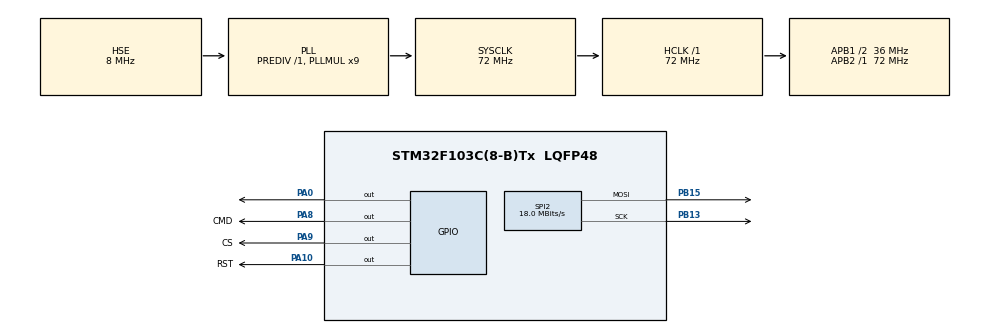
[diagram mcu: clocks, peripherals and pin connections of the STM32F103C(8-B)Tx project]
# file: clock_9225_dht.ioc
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Mcu.Family=STM32F1
Mcu.Name=STM32F103C(8-B)Tx
Mcu.Package=LQFP48
NVIC.PriorityGroup=NVIC_PRIORITYGROUP_4
PA0-WKUP.Signal=GPIO_Output
PA10.GPIO_Label=RST
PA10.Signal=GPIO_Output
PA13.Mode=Serial_Wire
PA13.Signal=SYS_JTMS-SWDIO
PA14.Mode=Serial_Wire
PA14.Signal=SYS_JTCK-SWCLK
PA8.GPIO_Label=CMD
PA8.Signal=GPIO_Output
PA9.GPIO_Label=CS
PA9.Signal=GPIO_Output
PB13.Mode=TX_Only_Simplex_Unidirect_Master
PB13.Signal=SPI2_SCK
PB15.Mode=TX_Only_Simplex_Unidirect_Master
PB15.Signal=SPI2_MOSI
PD0-OSC_IN.Mode=HSE-External-Oscillator
PD0-OSC_IN.Signal=RCC_OSC_IN
PD1-OSC_OUT.Mode=HSE-External-Oscillator
PD1-OSC_OUT.Signal=RCC_OSC_OUT
ProjectManager.HeapSize=0x200
ProjectManager.StackSize=0x400
ProjectManager.TargetToolchain=STM32CubeIDE
RCC.AHBFreq_Value=72000000
RCC.APB1CLKDivider=RCC_HCLK_DIV2
RCC.APB1Freq_Value=36000000
RCC.APB1TimFreq_Value=72000000
RCC.APB2Freq_Value=72000000
RCC.APB2TimFreq_Value=72000000
RCC.HCLKFreq_Value=72000000
RCC.PLLMUL=RCC_PLL_MUL9
RCC.PLLSourceVirtual=RCC_PLLSOURCE_HSE
RCC.SYSCLKFreq_VALUE=72000000
RCC.SYSCLKSource=RCC_SYSCLKSOURCE_PLLCLK
RCC.USBFreq_Value=72000000
SPI2.CalculateBaudRate=18.0 MBits/s
SPI2.Direction=SPI_DIRECTION_2LINES
SPI2.Mode=SPI_MODE_MASTER
SPI2.VirtualType=VM_MASTER
board=custom

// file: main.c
/* USER CODE BEGIN Header */
/**
  ******************************************************************************
  * @file           : main.c
  * @brief          : Main program body
  ******************************************************************************
  * @attention
  *
  * Copyright (c) 2023 STMicroelectronics.
  * All rights reserved.
  *
  * This software is licensed under terms that can be found in the LICENSE file
  * in the root directory of this software component.
  * If no LICENSE file comes with this software, it is provided AS-IS.
  *
  ******************************************************************************
  */
/* USER CODE END Header */
#include "main.h"

/* USER CODE BEGIN Includes */
#include "ILI9225.h"
#include "DHT.h"
#include "stdio.h"
#include "stdint.h"
#include <string.h>
/* USER CODE END Includes */

SPI_HandleTypeDef hspi2;

DHT_DataTypedef DHT11_Data;
float Temperature, Humidity;
long last = 0;
int i = 0;
char temperature_string[100];
char humidity_string[100];

void SystemClock_Config(void);
static void MX_GPIO_Init(void);
static void MX_SPI2_Init(void);
void Read_DataDHT(void);

int main(void)
{

  /* MCU Configuration--------------------------------------------------------*/

  /* Reset of all peripherals, Initializes the Flash interface and the Systick. */
  HAL_Init();

  /* Configure the system clock */
  SystemClock_Config();

  /* Initialize all configured peripherals */
  MX_GPIO_Init();
  MX_SPI2_Init();
  /* USER CODE BEGIN 2 */
  lcd_init();
  fill_rectangle(0, 0, WIDTH, HEIGHT, COLOR_WHITE);
  Read_DataDHT();

  /* USER CODE END 2 */

  /* Infinite loop */
  while (1)
  {

    /* USER CODE BEGIN 3 */
	  draw_string(50, 50, COLOR_BLUE, 5, "PIF");
	  HAL_Delay(2500);
//	  fill_rectangle(0, 0, WIDTH, HEIGHT, COLOR_WHITE);
//	  HAL_Delay(1000);
//	  draw_string(50, 50, COLOR_BLUE, 5, "QMD");
//	  HAL_Delay(2500);
//	  fill_rectangle(0, 0, WIDTH, HEIGHT, COLOR_WHITE);
//	  HAL_Delay(1000);
//	  draw_string(40, 50, COLOR_BLUE, 5, ":D");
//	  HAL_Delay(2500);
//	  fill_rectangle(0, 0, WIDTH, HEIGHT, COLOR_WHITE);
//	  HAL_Delay(1000);
	    snprintf(temperature_string, 7, "%.2f", Temperature);
	    snprintf(humidity_string, 7, "%.2f", Humidity);
	  Read_DataDHT();
	  draw_string(0, 0, COLOR_DARKCYAN, 5, "haha");
	  HAL_Delay(1000);
  }
  /* USER CODE END 3 */
}

void Read_DataDHT(void)
{
	DHT_GetData(&DHT11_Data);
	Temperature = DHT11_Data.Temperature;
	Humidity = DHT11_Data.Humidity;
//	char number_string[10];

//	dtostrf(Temperature, 5, 2, str);
//	dtostrf(Humidity, 5, 2, str);
//	dtostrf(Temperature, str, 5, 2);
//    dtostrf(Humidity, str, 5, 2);
//    itoa(Temperature, str, 5);
//    snprintf(temperature_string, 7, "%.2f", Temperature);
//    snprintf(humidity_string, 7, "%.2f", Humidity);
    //	str, "%d.Temperature: %0.2f - Humidity: %0.2f\r\n", Temperature,Humidity;

//	last = HAL_GetTick();
//	while(1)
//	{
//		if(HAL_GetTick() - last >= 1000)
//		{
////			uint8_t count = 0;
////			i++;
////	 		count = sprintf((char *)str,"%d.Temperature: %0.2f - Humidity: %0.2f\r\n",i, Temperature,Humidity);
////			HAL_UART_Transmit(&huart2,str, count, 300);
//			last = HAL_GetTick();
//			break;
//		}
//	}
}

void SystemClock_Config(void)
{
  RCC_OscInitTypeDef RCC_OscInitStruct = {0};
  RCC_ClkInitTypeDef RCC_ClkInitStruct = {0};

  /** Initializes the RCC Oscillators according to the specified parameters
  * in the RCC_OscInitTypeDef structure.
  */
  RCC_OscInitStruct.OscillatorType = RCC_OSCILLATORTYPE_HSE;
  RCC_OscInitStruct.HSEState = RCC_HSE_ON;
  RCC_OscInitStruct.HSEPredivValue = RCC_HSE_PREDIV_DIV1;
  RCC_OscInitStruct.HSIState = RCC_HSI_ON;
  RCC_OscInitStruct.PLL.PLLState = RCC_PLL_ON;
  RCC_OscInitStruct.PLL.PLLSource = RCC_PLLSOURCE_HSE;
  RCC_OscInitStruct.PLL.PLLMUL = RCC_PLL_MUL9;
  if (HAL_RCC_OscConfig(&RCC_OscInitStruct) != HAL_OK)
  {
    Error_Handler();
  }

  /** Initializes the CPU, AHB and APB buses clocks
  */
  RCC_ClkInitStruct.ClockType = RCC_CLOCKTYPE_HCLK|RCC_CLOCKTYPE_SYSCLK
                              |RCC_CLOCKTYPE_PCLK1|RCC_CLOCKTYPE_PCLK2;
  RCC_ClkInitStruct.SYSCLKSource = RCC_SYSCLKSOURCE_PLLCLK;
  RCC_ClkInitStruct.AHBCLKDivider = RCC_SYSCLK_DIV1;
  RCC_ClkInitStruct.APB1CLKDivider = RCC_HCLK_DIV2;
  RCC_ClkInitStruct.APB2CLKDivider = RCC_HCLK_DIV1;

  if (HAL_RCC_ClockConfig(&RCC_ClkInitStruct, FLASH_LATENCY_2) != HAL_OK)
  {
    Error_Handler();
  }
}

static void MX_SPI2_Init(void)
{

  /* SPI2 parameter configuration*/
  hspi2.Instance = SPI2;
  hspi2.Init.Mode = SPI_MODE_MASTER;
  hspi2.Init.Direction = SPI_DIRECTION_2LINES;
  hspi2.Init.DataSize = SPI_DATASIZE_8BIT;
  hspi2.Init.CLKPolarity = SPI_POLARITY_LOW;
  hspi2.Init.CLKPhase = SPI_PHASE_1EDGE;
  hspi2.Init.NSS = SPI_NSS_SOFT;
  hspi2.Init.BaudRatePrescaler = SPI_BAUDRATEPRESCALER_2;
  hspi2.Init.FirstBit = SPI_FIRSTBIT_MSB;
  hspi2.Init.TIMode = SPI_TIMODE_DISABLE;
  hspi2.Init.CRCCalculation = SPI_CRCCALCULATION_DISABLE;
  hspi2.Init.CRCPolynomial = 10;
  if (HAL_SPI_Init(&hspi2) != HAL_OK)
  {
    Error_Handler();
  }

}

static void MX_GPIO_Init(void)
{
  GPIO_InitTypeDef GPIO_InitStruct = {0};

  /* GPIO Ports Clock Enable */
  __HAL_RCC_GPIOD_CLK_ENABLE();
  __HAL_RCC_GPIOB_CLK_ENABLE();
  __HAL_RCC_GPIOA_CLK_ENABLE();

  /*Configure GPIO pin Output Level */
  HAL_GPIO_WritePin(GPIOA, CMD_Pin|CS_Pin|RST_Pin, GPIO_PIN_RESET);

  /*Configure GPIO pins : CMD_Pin CS_Pin RST_Pin */
  GPIO_InitStruct.Pin = CMD_Pin|CS_Pin|RST_Pin;
  GPIO_InitStruct.Mode = GPIO_MODE_OUTPUT_PP;
  GPIO_InitStruct.Pull = GPIO_NOPULL;
  GPIO_InitStruct.Speed = GPIO_SPEED_FREQ_LOW;
  HAL_GPIO_Init(GPIOA, &GPIO_InitStruct);

}

void Error_Handler(void)
{
  __disable_irq();
  while (1)
  {
  }
}
